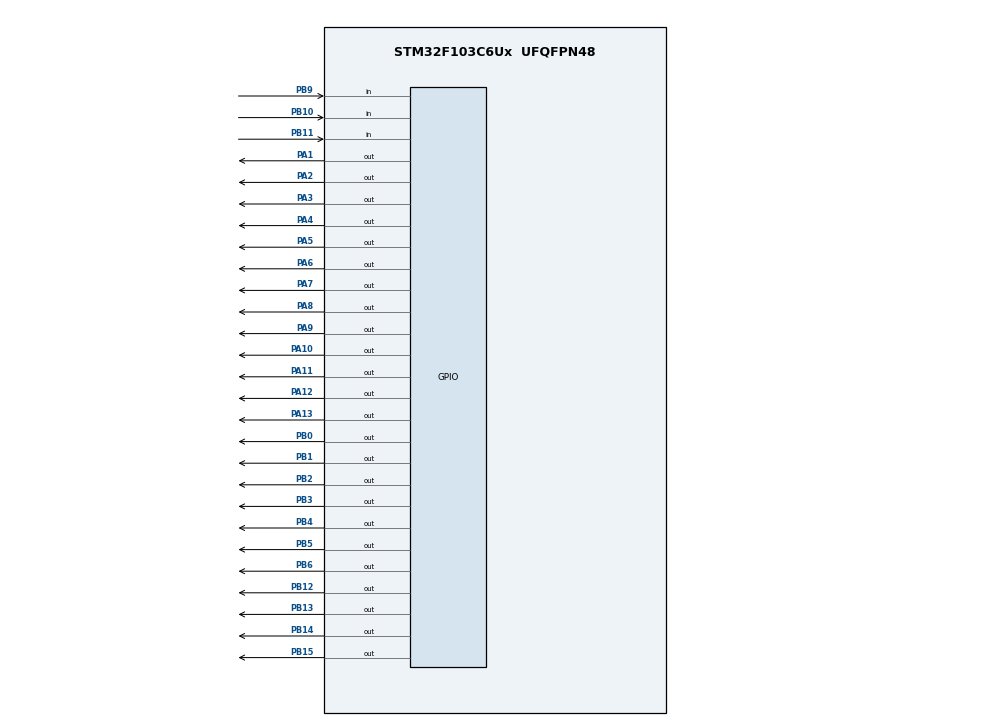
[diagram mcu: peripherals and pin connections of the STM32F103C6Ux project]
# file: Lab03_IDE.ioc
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Mcu.Family=STM32F1
Mcu.Name=STM32F103C6Ux
Mcu.Package=UFQFPN48
NVIC.PriorityGroup=NVIC_PRIORITYGROUP_4
NVIC.TIM2_IRQn=true\:0\:0\:false\:false\:true\:true\:true
PA1.Signal=GPIO_Output
PA10.Signal=GPIO_Output
PA11.Signal=GPIO_Output
PA12.Signal=GPIO_Output
PA13.Signal=GPIO_Output
PA2.Signal=GPIO_Output
PA3.Signal=GPIO_Output
PA4.Signal=GPIO_Output
PA5.Signal=GPIO_Output
PA6.Signal=GPIO_Output
PA7.Signal=GPIO_Output
PA8.Signal=GPIO_Output
PA9.Signal=GPIO_Output
PB0.Signal=GPIO_Output
PB1.Signal=GPIO_Output
PB10.GPIO_PuPd=GPIO_PULLUP
PB10.Signal=GPIO_Input
PB11.GPIO_PuPd=GPIO_PULLUP
PB11.Signal=GPIO_Input
PB12.Signal=GPIO_Output
PB13.Signal=GPIO_Output
PB14.Signal=GPIO_Output
PB15.Signal=GPIO_Output
PB2.Signal=GPIO_Output
PB3.Signal=GPIO_Output
PB4.Signal=GPIO_Output
PB5.Signal=GPIO_Output
PB6.Signal=GPIO_Output
PB9.GPIO_PuPd=GPIO_PULLUP
PB9.Signal=GPIO_Input
ProjectManager.HeapSize=0x200
ProjectManager.StackSize=0x400
ProjectManager.TargetToolchain=STM32CubeIDE
RCC.APB1Freq_Value=8000000
RCC.APB2Freq_Value=8000000
TIM2.Period=9
TIM2.Prescaler=7999
VP_SYS_VS_ND.Mode=No_Debug
VP_TIM2_VS_ClockSourceINT.Mode=Internal
board=custom

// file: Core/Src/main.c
/* USER CODE BEGIN Header */
/**
  ******************************************************************************
  * @file           : main.c
  * @brief          : Main program body
  ******************************************************************************
  * @attention
  *
  * <h2><center>&copy; Copyright (c) 2026 STMicroelectronics.
  * All rights reserved.</center></h2>
  *
  * This software component is licensed by ST under BSD 3-Clause license,
  * the "License"; You may not use this file except in compliance with the
  * License. You may obtain a copy of the License at:
  *                        opensource.org/licenses/BSD-3-Clause
  *
  ******************************************************************************
  */
/* USER CODE END Header */
#include "main.h"

/* USER CODE BEGIN Includes */
#include "global.h"
#include "software_timer.h"
#include "button.h"
#include "traffic_display.h"
#include "fsm_manual.h"
#include "fsm_automatic.h"
#include "fsm_setting.h"
/* USER CODE END Includes */

TIM_HandleTypeDef htim2;

void SystemClock_Config(void);
static void MX_GPIO_Init(void);
static void MX_TIM2_Init(void);

int main(void) {
    HAL_Init();
    SystemClock_Config();
    MX_GPIO_Init();
    MX_TIM2_Init();

    /* USER CODE BEGIN 2 */
    HAL_TIM_Base_Start_IT(&htim2); // Kích hoạt ngắt TIM2

    fsm_automatic_init();
    setTimer(1, 250); // Timer index 1 for 2Hz blinking
    setTimer(2, 20);  // Timer index 2 for 7-segment scanning
    /* USER CODE END 2 */

    while (1) {
        fsm_manual_run();
        fsm_automatic_run();
        fsm_setting_run();
    }
}

void SystemClock_Config(void)
{
  RCC_OscInitTypeDef RCC_OscInitStruct = {0};
  RCC_ClkInitTypeDef RCC_ClkInitStruct = {0};

  /** Initializes the RCC Oscillators according to the specified parameters
  * in the RCC_OscInitTypeDef structure.
  */
  RCC_OscInitStruct.OscillatorType = RCC_OSCILLATORTYPE_HSI;
  RCC_OscInitStruct.HSIState = RCC_HSI_ON;
  RCC_OscInitStruct.HSICalibrationValue = RCC_HSICALIBRATION_DEFAULT;
  RCC_OscInitStruct.PLL.PLLState = RCC_PLL_NONE;
  if (HAL_RCC_OscConfig(&RCC_OscInitStruct) != HAL_OK)
  {
    Error_Handler();
  }
  /** Initializes the CPU, AHB and APB buses clocks
  */
  RCC_ClkInitStruct.ClockType = RCC_CLOCKTYPE_HCLK|RCC_CLOCKTYPE_SYSCLK
                              |RCC_CLOCKTYPE_PCLK1|RCC_CLOCKTYPE_PCLK2;
  RCC_ClkInitStruct.SYSCLKSource = RCC_SYSCLKSOURCE_HSI;
  RCC_ClkInitStruct.AHBCLKDivider = RCC_SYSCLK_DIV1;
  RCC_ClkInitStruct.APB1CLKDivider = RCC_HCLK_DIV1;
  RCC_ClkInitStruct.APB2CLKDivider = RCC_HCLK_DIV1;

  if (HAL_RCC_ClockConfig(&RCC_ClkInitStruct, FLASH_LATENCY_0) != HAL_OK)
  {
    Error_Handler();
  }
}

static void MX_TIM2_Init(void)
{

  TIM_ClockConfigTypeDef sClockSourceConfig = {0};
  TIM_MasterConfigTypeDef sMasterConfig = {0};

  htim2.Instance = TIM2;
  htim2.Init.Prescaler = 7999;
  htim2.Init.CounterMode = TIM_COUNTERMODE_UP;
  htim2.Init.Period = 9;
  htim2.Init.ClockDivision = TIM_CLOCKDIVISION_DIV1;
  htim2.Init.AutoReloadPreload = TIM_AUTORELOAD_PRELOAD_DISABLE;
  if (HAL_TIM_Base_Init(&htim2) != HAL_OK)
  {
    Error_Handler();
  }
  sClockSourceConfig.ClockSource = TIM_CLOCKSOURCE_INTERNAL;
  if (HAL_TIM_ConfigClockSource(&htim2, &sClockSourceConfig) != HAL_OK)
  {
    Error_Handler();
  }
  sMasterConfig.MasterOutputTrigger = TIM_TRGO_RESET;
  sMasterConfig.MasterSlaveMode = TIM_MASTERSLAVEMODE_DISABLE;
  if (HAL_TIMEx_MasterConfigSynchronization(&htim2, &sMasterConfig) != HAL_OK)
  {
    Error_Handler();
  }

}

static void MX_GPIO_Init(void)
{
  GPIO_InitTypeDef GPIO_InitStruct = {0};

  /* GPIO Ports Clock Enable */
  __HAL_RCC_GPIOA_CLK_ENABLE();
  __HAL_RCC_GPIOB_CLK_ENABLE();

  /*Configure GPIO pin Output Level */
  HAL_GPIO_WritePin(GPIOA, GPIO_PIN_1|GPIO_PIN_2|GPIO_PIN_3|GPIO_PIN_4
                          |GPIO_PIN_5|GPIO_PIN_6|GPIO_PIN_7|GPIO_PIN_8
                          |GPIO_PIN_9|GPIO_PIN_10|GPIO_PIN_11|GPIO_PIN_12
                          |GPIO_PIN_13, GPIO_PIN_RESET);

  /*Configure GPIO pin Output Level */
  HAL_GPIO_WritePin(GPIOB, GPIO_PIN_0|GPIO_PIN_1|GPIO_PIN_2|GPIO_PIN_12
                          |GPIO_PIN_13|GPIO_PIN_14|GPIO_PIN_15|GPIO_PIN_3
                          |GPIO_PIN_4|GPIO_PIN_5|GPIO_PIN_6, GPIO_PIN_RESET);

  /*Configure GPIO pins : PA1 PA2 PA3 PA4
                           PA5 PA6 PA7 PA8
                           PA9 PA10 PA11 PA12
                           PA13 */
  GPIO_InitStruct.Pin = GPIO_PIN_1|GPIO_PIN_2|GPIO_PIN_3|GPIO_PIN_4
                          |GPIO_PIN_5|GPIO_PIN_6|GPIO_PIN_7|GPIO_PIN_8
                          |GPIO_PIN_9|GPIO_PIN_10|GPIO_PIN_11|GPIO_PIN_12
                          |GPIO_PIN_13;
  GPIO_InitStruct.Mode = GPIO_MODE_OUTPUT_PP;
  GPIO_InitStruct.Pull = GPIO_NOPULL;
  GPIO_InitStruct.Speed = GPIO_SPEED_FREQ_LOW;
  HAL_GPIO_Init(GPIOA, &GPIO_InitStruct);

  /*Configure GPIO pins : PB0 PB1 PB2 PB12
                           PB13 PB14 PB15 PB3
                           PB4 PB5 PB6 */
  GPIO_InitStruct.Pin = GPIO_PIN_0|GPIO_PIN_1|GPIO_PIN_2|GPIO_PIN_12
                          |GPIO_PIN_13|GPIO_PIN_14|GPIO_PIN_15|GPIO_PIN_3
                          |GPIO_PIN_4|GPIO_PIN_5|GPIO_PIN_6;
  GPIO_InitStruct.Mode = GPIO_MODE_OUTPUT_PP;
  GPIO_InitStruct.Pull = GPIO_NOPULL;
  GPIO_InitStruct.Speed = GPIO_SPEED_FREQ_LOW;
  HAL_GPIO_Init(GPIOB, &GPIO_InitStruct);

  /*Configure GPIO pins : PB10 PB11 PB9 */
  GPIO_InitStruct.Pin = GPIO_PIN_10|GPIO_PIN_11|GPIO_PIN_9;
  GPIO_InitStruct.Mode = GPIO_MODE_INPUT;
  GPIO_InitStruct.Pull = GPIO_PULLUP;
  HAL_GPIO_Init(GPIOB, &GPIO_InitStruct);

}

/* USER CODE BEGIN 4 */
void HAL_TIM_PeriodElapsedCallback(TIM_HandleTypeDef *htim) {
    if (htim->Instance == TIM2) {
        button_reading();
        timerRun();
    }
}
/* USER CODE END 4 */

void Error_Handler(void)
{
  __disable_irq();
  while (1)
  {
  }
}

/************************ (C) COPYRIGHT STMicroelectronics *****END OF FILE****/
